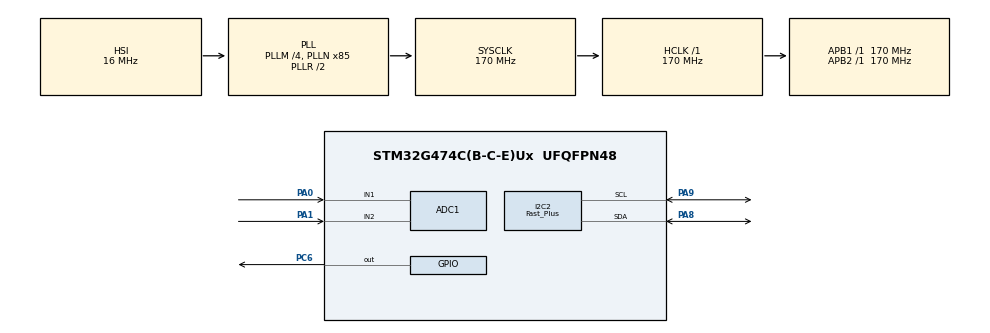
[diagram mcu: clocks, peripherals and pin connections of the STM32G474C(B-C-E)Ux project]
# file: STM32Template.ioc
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ADC1.Channel-1\#ChannelRegularConversion=ADC_CHANNEL_1
ADC1.NbrOfConversionFlag=1
ADC1.OffsetNumber-1\#ChannelRegularConversion=ADC_OFFSET_NONE
ADC1.Rank-1\#ChannelRegularConversion=1
ADC1.SamplingTime-1\#ChannelRegularConversion=ADC_SAMPLETIME_2CYCLES_5
ADC1.SingleDiff-1\#ChannelRegularConversion=ADC_DIFFERENTIAL_ENDED
ADC1.master=1
I2C2.I2C_Speed_Mode=I2C_Fast_Plus
I2C2.Timing=0x4052060F
Mcu.Family=STM32G4
Mcu.Name=STM32G474C(B-C-E)Ux
Mcu.Package=UFQFPN48
NVIC.PriorityGroup=NVIC_PRIORITYGROUP_4
PA0.Mode=IN1-Differential
PA0.Signal=ADC1_IN1
PA1.Mode=IN1-Differential
PA1.Signal=ADC1_IN2
PA13.Mode=Serial_Wire
PA13.Signal=SYS_JTMS-SWDIO
PA14.Mode=Serial_Wire
PA14.Signal=SYS_JTCK-SWCLK
PA8.Mode=I2C
PA8.Signal=I2C2_SDA
PA9.Mode=I2C
PA9.Signal=I2C2_SCL
PC6.Signal=GPIO_Output
ProjectManager.HeapSize=0x200
ProjectManager.StackSize=0x400
ProjectManager.TargetToolchain=CMake
RCC.ADC12Freq_Value=170000000
RCC.ADC345Freq_Value=170000000
RCC.AHBFreq_Value=170000000
RCC.APB1Freq_Value=170000000
RCC.APB1TimFreq_Value=170000000
RCC.APB2Freq_Value=170000000
RCC.APB2TimFreq_Value=170000000
RCC.CortexFreq_Value=170000000
RCC.EXTERNAL_CLOCK_VALUE=12288000
RCC.HCLKFreq_Value=170000000
RCC.HSE_VALUE=8000000
RCC.HSI48_VALUE=48000000
RCC.HSI_VALUE=16000000
RCC.LSE_VALUE=32768
RCC.PLLM=RCC_PLLM_DIV4
RCC.PLLN=85
RCC.SYSCLKFreq_VALUE=170000000
RCC.SYSCLKSource=RCC_SYSCLKSOURCE_PLLCLK
RCC.USBFreq_Value=170000000
RCC.VCOOutputFreq_Value=340000000
VP_CRC_VS_CRC.Mode=CRC_Activate
VP_SYS_VS_DBSignals.Mode=DisableDeadBatterySignals
board=custom

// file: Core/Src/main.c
/* USER CODE BEGIN Header */
/**
  ******************************************************************************
  * @file           : main.c
  * @brief          : Main program body
  ******************************************************************************
  * @attention
  *
  * Copyright (c) 2025 STMicroelectronics.
  * All rights reserved.
  *
  * This software is licensed under terms that can be found in the LICENSE file
  * in the root directory of this software component.
  * If no LICENSE file comes with this software, it is provided AS-IS.
  *
  ******************************************************************************
  */
/* USER CODE END Header */
#include "main.h"
#include "adc.h"
#include "crc.h"
#include "i2c.h"
#include "gpio.h"

/* USER CODE BEGIN Includes */
#include "MLX90640_API.h"
#include "MLX90640_I2C_Driver.h"
#include <stdio.h>
#include <arm_math.h>
/* USER CODE END Includes */

/* USER CODE BEGIN PTD */
#ifdef __GNUC__
#define PUTCHAR_PROTOTYPE int __io_putchar(int ch)
#else
#define PUTCHAR_PROTOTYPE int fputc(int ch, FILE *f)
#endif
/* USER CODE END PTD */

/* USER CODE BEGIN PV */
/* Buffer used for transmission */
uint8_t aTxBuffer[] = "****SPI - Two Boards communication based on Polling **** SPI Message ******** SPI Message ******** SPI Message ****";

//MLX stuff
float emmissivity = 0.95;
uint16_t MLX90640_address = 0x33;
paramsMLX90640 mlx90640;
static uint16_t eeMLX90640[832];
static uint16_t mlx90640Frame[834];
static float mlx90640To[768];
int status;
float tr;

/* Buffer used for reception */
uint8_t aRxBuffer[BUFFERSIZE];
/* USER CODE END PV */

void SystemClock_Config(void);
/* USER CODE BEGIN PFP */
static uint16_t Buffercmp(uint8_t *pBuffer1, uint8_t *pBuffer2, uint16_t BufferLength);
/* USER CODE END PFP */

/* USER CODE BEGIN 0 */

PUTCHAR_PROTOTYPE
{
  ITM_SendChar(ch);
  return ch;
}

/* USER CODE END 0 */

int main(void)
{

  /* USER CODE BEGIN 1 */

  /* STM32G4xx HAL library initialization:
       - Configure the Flash prefetch
       - Systick timer is configured by default as source of time base, but user
         can eventually implement his proper time base source (a general purpose
         timer for example or other time source), keeping in mind that Time base
         duration should be kept 1ms since PPP_TIMEOUT_VALUEs are defined and
         handled in milliseconds basis.
       - Set NVIC Group Priority to 4
       - Low Level Initialization
     */
  /* USER CODE END 1 */

  /* MCU Configuration--------------------------------------------------------*/

  /* Reset of all peripherals, Initializes the Flash interface and the Systick. */
  HAL_Init();

  /* Configure the system clock */
  SystemClock_Config();

  /* Initialize all configured peripherals */
  MX_GPIO_Init();
  MX_ADC1_Init();
  MX_CRC_Init();
  MX_I2C2_Init();
  /* USER CODE BEGIN 2 */

  /* Configure LED2 */
  // BSP_LED_Init(LED2);

  /*##-1- Start the Full Duplex Communication process ########################*/
  /* While the SPI in TransmitReceive process, user can transmit data through
     "aTxBuffer" buffer & receive data through "aRxBuffer" */
  /* Timeout is set to 5S */

    status = MLX90640_SetRefreshRate(MLX90640_address, 0x07);

    status = MLX90640_DumpEE(MLX90640_address, eeMLX90640);
    if(status != 0){
      Error_Handler();
    }

    status = MLX90640_ExtractParameters(eeMLX90640, &mlx90640);
    if(status != 0){
      Error_Handler();
    }

  /* USER CODE END 2 */

  /* Infinite loop */
  /* USER CODE BEGIN WHILE */
  while (1)
  {

    status = MLX90640_GetFrameData(MLX90640_address, mlx90640Frame);
    if(status != 0){
      Error_Handler();
    }
    tr = MLX90640_GetTa(mlx90640Frame, &mlx90640);
    MLX90640_CalculateTo(mlx90640Frame, &mlx90640, emmissivity, tr, mlx90640To);
    MLX90640_BadPixelsCorrection((&mlx90640)->brokenPixels, mlx90640To, 1, &mlx90640);
    MLX90640_BadPixelsCorrection((&mlx90640)->outlierPixels, mlx90640To, 1, &mlx90640);
    //HAL_Delay(16);
    /* USER CODE END WHILE */

  }
}

void SystemClock_Config(void)
{
  RCC_OscInitTypeDef RCC_OscInitStruct = {0};
  RCC_ClkInitTypeDef RCC_ClkInitStruct = {0};

  /** Configure the main internal regulator output voltage
  */
  HAL_PWREx_ControlVoltageScaling(PWR_REGULATOR_VOLTAGE_SCALE1_BOOST);

  /** Initializes the RCC Oscillators according to the specified parameters
  * in the RCC_OscInitTypeDef structure.
  */
  RCC_OscInitStruct.OscillatorType = RCC_OSCILLATORTYPE_HSI;
  RCC_OscInitStruct.HSIState = RCC_HSI_ON;
  RCC_OscInitStruct.HSICalibrationValue = RCC_HSICALIBRATION_DEFAULT;
  RCC_OscInitStruct.PLL.PLLState = RCC_PLL_ON;
  RCC_OscInitStruct.PLL.PLLSource = RCC_PLLSOURCE_HSI;
  RCC_OscInitStruct.PLL.PLLM = RCC_PLLM_DIV4;
  RCC_OscInitStruct.PLL.PLLN = 85;
  RCC_OscInitStruct.PLL.PLLP = RCC_PLLP_DIV2;
  RCC_OscInitStruct.PLL.PLLQ = RCC_PLLQ_DIV2;
  RCC_OscInitStruct.PLL.PLLR = RCC_PLLR_DIV2;
  if (HAL_RCC_OscConfig(&RCC_OscInitStruct) != HAL_OK)
  {
    Error_Handler();
  }

  /** Initializes the CPU, AHB and APB buses clocks
  */
  RCC_ClkInitStruct.ClockType = RCC_CLOCKTYPE_HCLK|RCC_CLOCKTYPE_SYSCLK
                              |RCC_CLOCKTYPE_PCLK1|RCC_CLOCKTYPE_PCLK2;
  RCC_ClkInitStruct.SYSCLKSource = RCC_SYSCLKSOURCE_PLLCLK;
  RCC_ClkInitStruct.AHBCLKDivider = RCC_SYSCLK_DIV1;
  RCC_ClkInitStruct.APB1CLKDivider = RCC_HCLK_DIV1;
  RCC_ClkInitStruct.APB2CLKDivider = RCC_HCLK_DIV1;

  if (HAL_RCC_ClockConfig(&RCC_ClkInitStruct, FLASH_LATENCY_4) != HAL_OK)
  {
    Error_Handler();
  }
}

/* USER CODE BEGIN 4 */

/**
  * @brief  Compares two buffers.
  * @param  pBuffer1, pBuffer2: buffers to be compared.
  * @param  BufferLength: buffer's length
  * @retval 0  : pBuffer1 identical to pBuffer2
  *         >0 : pBuffer1 differs from pBuffer2
  */
static uint16_t Buffercmp(uint8_t *pBuffer1, uint8_t *pBuffer2, uint16_t BufferLength)
{
  while (BufferLength--)
  {
    if ((*pBuffer1) != *pBuffer2)
    {
      return BufferLength;
    }
    pBuffer1++;
    pBuffer2++;
  }

  return 0;
}

/* USER CODE END 4 */

void Error_Handler(void)
{
}
